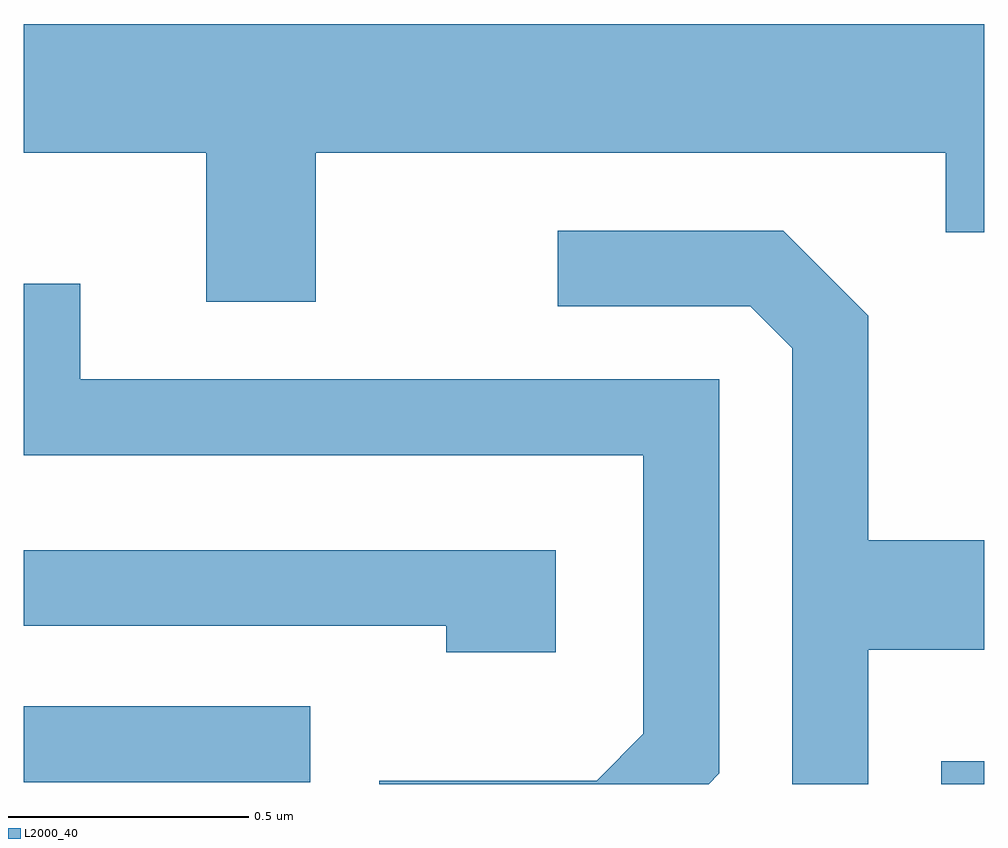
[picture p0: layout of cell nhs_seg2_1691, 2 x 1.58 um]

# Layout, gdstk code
import gdstk
lib = gdstk.Library(unit=1e-6, precision=1e-09)
def R(c, l, rs):  # rectangles x0, y0, x1, y1
    for r in rs: c.add(gdstk.rectangle(r[:2], r[2:], *l))
def P(c, l, *ps):  # polygons
    for p in ps: c.add(gdstk.Polygon(p, *l))
L2000_40 = (2000, 40)

nhs_seg2_1691 = lib.new_cell('nhs_seg2_1691')
R(nhs_seg2_1691, L2000_40, [(199.521,1024.802,199.611,1024.849), (197.611,1024.806,198.208,1024.964)])
P(nhs_seg2_1691, L2000_40, [(198.219,1026.116),(199.531,1026.116),(199.531,1025.951),(199.611,1025.951),(199.611,1026.384),(197.611,1026.384),(197.611,1026.116),(197.991,1026.116),(197.991,1025.806),(198.219,1025.806)],
  [(199.369,1025.081),(199.611,1025.081),(199.611,1025.309),(199.369,1025.309),(199.369,1025.777),(199.192,1025.954),(198.723,1025.954),(198.723,1025.796),(199.124,1025.796),(199.211,1025.709),(199.211,1024.802),(199.369,1024.802)],
  [(199.059,1024.824),(199.059,1025.644),(197.729,1025.644),(197.729,1025.843),(197.611,1025.843),(197.611,1025.486),(198.901,1025.486),(198.901,1024.907),(198.804,1024.809),(198.351,1024.809),(198.351,1024.802),(199.037,1024.802)],
  [(198.719,1025.289),(197.611,1025.289),(197.611,1025.131),(198.491,1025.131),(198.491,1025.076),(198.719,1025.076)])

lib.write_gds('nhs_seg2_1691.gds')
